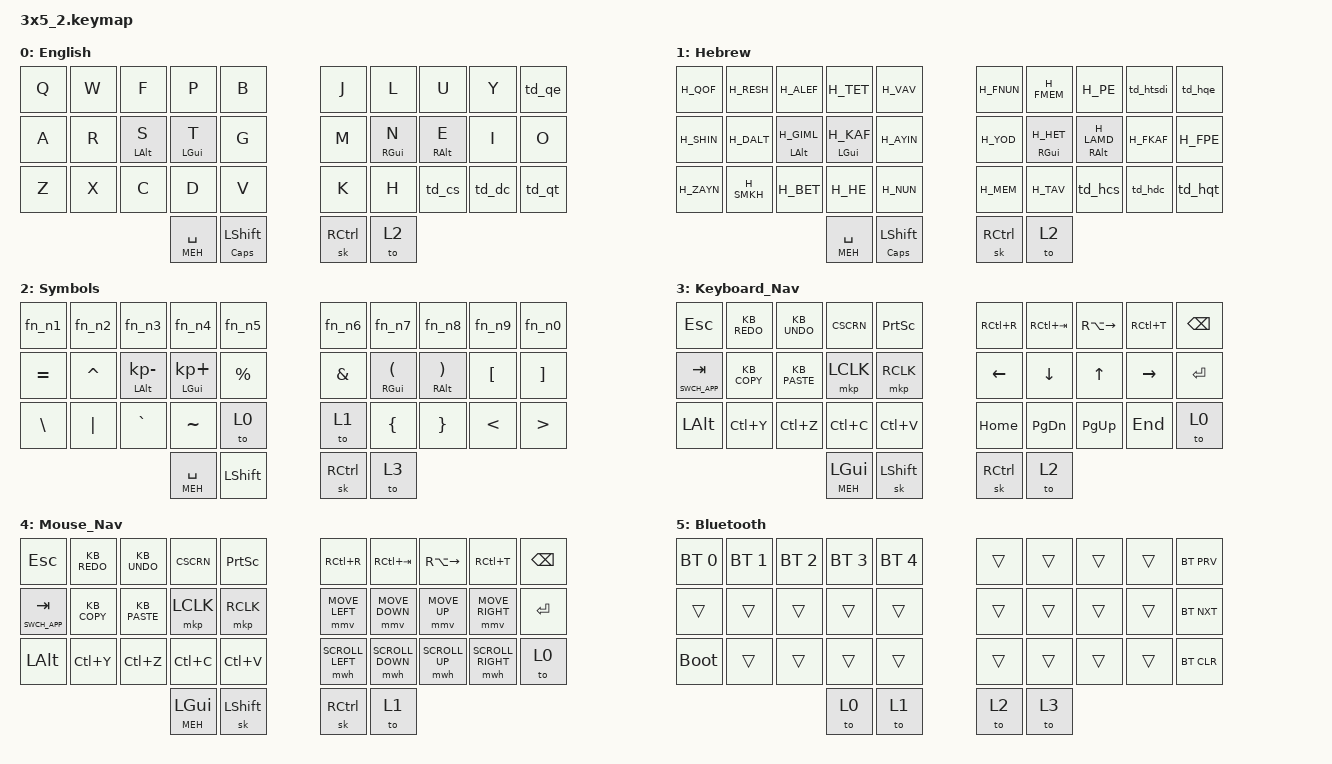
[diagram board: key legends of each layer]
/*
 * Copyright (c) 2020 The ZMK Contributors
 *
 * SPDX-License-Identifier: MIT
 */

#include <behaviors.dtsi>
#include <dt-bindings/zmk/keys.h>
#include <dt-bindings/zmk/bt.h>
#include <dt-bindings/zmk/mouse.h>

// Keymaps
#include "../keys/hebrew.h"
#include "../keys/shortcut.h"
#include "../keys/mod.h"

&mt {
    tapping_term_ms = <200>;
    flavor = "tap-preferred";
};
&sk {
    release-after-ms = <2000>;
    quick-release;
};

// Behaviors Constants
#define long_tap 200
#define short_tap 150

// Combos Constants
#define default_timeout 50

// Layers
#define ENG    0
#define HEB    1
#define SYM    2
#define KBNV   3
#define MSNV   4	
#define BLTH   5

/ {
    combos {
        compatible = "zmk,combos";

/* 34 Key Matrix
* ╭──────────────╮ ╭──────────────╮
* │ 0  1  2  3  4│ │ 5  6  7  8  9│
* │10 11 12 13 14│ │15 16 17 18 19│
* │20 21 22 23 24│ │25 26 27 28 29│
* ╰────────╮30 31│ │32 33╭────────╯
*          ╰─────╯ ╰─────╯         
*/

// General combos
        combo_to_base {
            timeout-ms = <default_timeout>;
            key-positions = <30 33>;
            bindings = <&to ENG>;
        };
        combo_to_bt {
            timeout-ms = <default_timeout>;
            key-positions = <0 9>;
            bindings = <&to BLTH>;
            layers = <ENG HEB SYM KBNV MSNV>;
        };

// Alphanumeric-Layer combos
        combo_caps_word {
            timeout-ms = <default_timeout>;
            key-positions = <24 25>;
            bindings = <&caps_word>;
            layers = <ENG HEB SYM>;
        };

// Top Row (left to right)
        combo_escape {
            timeout-ms = <default_timeout>;
            key-positions = <0 1>;
            bindings = <&kp ESCAPE>;
            layers = <ENG HEB SYM>;
        };

        combo_dollar {
            timeout-ms = <default_timeout>;
            key-positions = <2 3>; 
            bindings = <&kp DOLLAR>;
            layers = <ENG SYM>;
        };
        combo_shekel {
            timeout-ms = <default_timeout>;
            key-positions = <2 3>;
            bindings = <&kp H_SHKL>;
            layers = <HEB>;
        };

        combo_underscore {
            timeout-ms = <default_timeout>;
            key-positions = <6 7>;
            bindings = <&kp UNDERSCORE>;
            layers = <ENG HEB SYM>;
        };

        combo_backspace {
            timeout-ms = <default_timeout>;
            key-positions = <8 9>;
            bindings = <&kp BACKSPACE>;
            layers = <ENG HEB SYM>;
        };

// Middle row
        combo_tab {
            timeout-ms = <default_timeout>;
            key-positions = <10 11>;
            bindings = <&kp TAB>;
            layers = <ENG HEB SYM>;
        };

        combo_return {
            timeout-ms = <default_timeout>;
            key-positions = <18 19>;
            bindings = <&kp RETURN>;
            layers = <ENG HEB SYM>;
        };

// Bottom row
        combo_slash {
            timeout-ms = <default_timeout>;
            key-positions = <20 21>;
            bindings = <&kp FSLH>;
            layers = <ENG HEB SYM>;
        };

        combo_asterisk {
            timeout-ms = <default_timeout>;
            key-positions = <22 23>;
            bindings = <&kp ASTERISK>;
            layers = <ENG HEB SYM>;
        };

        combo_hash {
            timeout-ms = <default_timeout>;
            key-positions = <26 27>;
            bindings = <&kp HASH>;
            layers = <ENG HEB SYM>;
        };

        combo_at_sign {
            timeout-ms = <default_timeout>;
            key-positions = <28 29>;
            bindings = <&kp AT_SIGN>;
            layers = <ENG HEB SYM>;
        };
    };

    behaviors {
        hm: homerow_mods {
            compatible = "zmk,behavior-hold-tap";
            #binding-cells = <2>;
            tapping-term-ms = <long_tap>;
            quick_tap_ms = <0>;
            flavor = "tap-preferred";
            bindings = 
                <&kp>, 
                <&kp>;
        };
        smt: sticky_mod_tap {
            compatible = "zmk,behavior-hold-tap";
            #binding-cells = <2>;
            tapping-term-ms = <long_tap>;
            quick_tap_ms = <0>;
            flavor = "tap-preferred";
            bindings = 
                <&sk>, 
                <&kp>;
        };
        ht: hold_tap {
            compatible = "zmk,behavior-hold-tap";
            #binding-cells = <2>;
            tapping-term-ms = <short_tap>;
            quick_tap_ms = <0>;
            flavor = "tap-preferred";
            bindings = 
                <&kp>, 
                <&kp>;
        };
        // 1: Period "."; 2: Colon ":"; 3: Ellipsis "..."
        td_dc: tap_dot_colon {
            compatible = "zmk,behavior-tap-dance";
            #binding-cells = <0>;
            tapping-term-ms = <short_tap>;
            bindings = 
                <&kp DOT>, 
                <&kp COLON>, 
                <&kp DOT &kp DOT &kp DOT>;
        };
        // 1: Comma ","; 2: Semicolon ";"
        td_cs: tap_comma_semicolon {
            compatible = "zmk,behavior-tap-dance";
            #binding-cells = <0>;
            tapping-term-ms = <short_tap>;
            bindings = 
                <&kp COMMA>, 
                <&kp SEMICOLON>;
        };
        // 1: Single quote "'"; 2: Double quote """; 3: Triple-double quote """""
        td_qt: tap_quote {
            compatible = "zmk,behavior-tap-dance";
            #binding-cells = <0>;
            tapping-term-ms = <short_tap>;
            bindings = 
                <&kp SINGLE_QUOTE>, 
                <&kp DOUBLE_QUOTES>, 
                <&kp DOUBLE_QUOTES &kp DOUBLE_QUOTES &kp DOUBLE_QUOTES>;
        };
        // 1: Question mark "?"; 2: Exclamation mark "!"
        td_qe: tap_ques_excl {
            compatible = "zmk,behavior-tap-dance";
            #binding-cells = <0>;
            tapping-term-ms = <short_tap>;
            bindings = 
                <&kp QUESTION>, 
                <&kp EXCLAMATION>,
                <&kp QUESTION &kp QUESTION &kp QUESTION>;
        };
        // 1: Period "."; 2: Colon ":"; 3: Ellipsis "..."
        td_hdc: tap_heb_dot_colon {
            compatible = "zmk,behavior-tap-dance";
            #binding-cells = <0>;
            tapping-term-ms = <short_tap>;
            bindings = 
                <&kp H_DOT>, 
                <&kp H_COLON>, 
                <&kp H_DOT &kp H_DOT &kp H_DOT>;
        };
        // 1: Comma ","; 2: Semicolon ";"
        td_hcs: tap_heb_comma_semicolon {
            compatible = "zmk,behavior-tap-dance";
            #binding-cells = <0>;
            tapping-term-ms = <short_tap>;
            bindings = 
                <&kp H_COMMA>, 
                <&kp H_SEMI>;
        };
        // 1: Single quote "'"; 2: Double quote """; 3: Triple-double quote """""
        td_hqt: tap_heb_quote {
            compatible = "zmk,behavior-tap-dance";
            #binding-cells = <0>;
            tapping-term-ms = <short_tap>;
            bindings = 
                <&kp H_SQT>, 
                <&kp H_DQT>, 
                <&kp H_DQT &kp H_DQT &kp H_DQT>;
        };
        // 1: Question mark "?"; 2: Exclamation mark "!"
        td_hqe: tap_heb_ques_excl {
            compatible = "zmk,behavior-tap-dance";
            #binding-cells = <0>;
            tapping-term-ms = <short_tap>;
            bindings = 
                <&kp H_QMARK>, 
                <&kp H_EXCL>;
        };
        // 1: Question mark "?"; 2: Exclamation mark "!"
        td_htsdi: tap_heb_tsadi {
            compatible = "zmk,behavior-tap-dance";
            #binding-cells = <0>;
            tapping-term-ms = <short_tap>;
            bindings = 
                <&kp H_TSDI>, 
                <&kp H_FTSDI>;
        };
        // Number-Function Mod-Morph
        fn_n1: number_function_1 {
            compatible = "zmk,behavior-mod-morph";
            #binding-cells = <0>;
            bindings = 
                <&kp KP_N1>, 
                <&kp F1>;
            mods = <(MOD_LSFT|MOD_RSFT)>;
        };
        fn_n2: number_function_2 {
            compatible = "zmk,behavior-mod-morph";
            #binding-cells = <0>;
            bindings = 
                <&kp KP_N2>, 
                <&kp F2>;
            mods = <(MOD_LSFT|MOD_RSFT)>;
        };
        fn_n3: number_function_3 {
            compatible = "zmk,behavior-mod-morph";
            #binding-cells = <0>;
            bindings = 
                <&kp KP_N3>, 
                <&kp F3>;
            mods = <(MOD_LSFT|MOD_RSFT)>;
        };
        fn_n4: number_function_4 {
            compatible = "zmk,behavior-mod-morph";
            #binding-cells = <0>;
            bindings = 
                <&kp KP_N4>, 
                <&kp F4>;
            mods = <(MOD_LSFT|MOD_RSFT)>;
        };
        fn_n5: number_function_5 {
            compatible = "zmk,behavior-mod-morph";
            #binding-cells = <0>;
            bindings = 
                <&kp KP_N5>, 
                <&kp F5>;
            mods = <(MOD_LSFT|MOD_RSFT)>;
        };
        fn_n6: number_function_6 {
            compatible = "zmk,behavior-mod-morph";
            #binding-cells = <0>;
            bindings = 
                <&kp KP_N6>,
                <&kp F6>;
            mods = <(MOD_LSFT|MOD_RSFT)>;
        };
        fn_n7: number_function_7 {
            compatible = "zmk,behavior-mod-morph";
            #binding-cells = <0>;
            bindings = 
                <&kp KP_N7>,
                <&kp F7>;
            mods = <(MOD_LSFT|MOD_RSFT)>;
        };
        fn_n8: number_function_8 {
            compatible = "zmk,behavior-mod-morph";
            #binding-cells = <0>;
            bindings = 
                <&kp KP_N8>,
                <&kp F8>;
            mods = <(MOD_LSFT|MOD_RSFT)>;
        };
        fn_n9: number_function_9 {
            compatible = "zmk,behavior-mod-morph";
            #binding-cells = <0>;
            bindings = 
                <&kp KP_N9>, 
                <&kp F9>;
            mods = <(MOD_LSFT|MOD_RSFT)>;
        };
        fn_n0: number_function_10 {
            compatible = "zmk,behavior-mod-morph";
            #binding-cells = <0>;
            bindings = 
                <&kp KP_N0>,
                <&kp F10>;
            mods = <(MOD_LSFT|MOD_RSFT)>;
        };
    };


    keymap {
        compatible = "zmk,keymap";

        ENG {
            display-name = "English";
            bindings = <
    &kp Q           &kp W           &kp F           &kp P           &kp B              &kp J           &kp L           &kp U           &kp Y           &td_qe
    &kp A           &kp R           &hm LALT S      &hm LGUI T      &kp G              &kp M           &hm RGUI N      &hm RALT E      &kp I           &kp O
    &kp Z           &kp X           &kp C           &kp D           &kp V              &kp K           &kp H           &td_cs          &td_dc          &td_qt
                                    &smt MEH SPACE          &mt CAPS LSHIFT            &sk RCTRL               &to 2
            >;
        };
        HEB {
            display-name = "Hebrew";
            bindings = <
    &kp H_QOF       &kp H_RESH      &kp H_ALEF      &kp H_TET       &kp H_VAV          &kp H_FNUN      &kp H_FMEM      &kp H_PE        &td_htsdi       &td_hqe
    &kp H_SHIN      &kp H_DALT      &hm LALT H_GIML &hm LGUI H_KAF  &kp H_AYIN         &kp H_YOD       &hm RGUI H_HET  &hm RALT H_LAMD &kp H_FKAF      &kp H_FPE
    &kp H_ZAYN      &kp H_SMKH      &kp H_BET       &kp H_HE        &kp H_NUN          &kp H_MEM       &kp H_TAV       &td_hcs         &td_hdc         &td_hqt
                                    &smt MEH SPACE          &mt CAPS LSHIFT            &sk RCTRL               &to 2
            >;
        };
        SYM {
            display-name = "Symbols";
            bindings = <
    &fn_n1          &fn_n2          &fn_n3            &fn_n4            &fn_n5        &fn_n6          &fn_n7        &fn_n8          &fn_n9      &fn_n0
    &kp EQUAL       &kp CARET       &hm LALT KP_MINUS &hm LGUI KP_PLUS  &kp PRCNT     &kp AMPERSAND   &hm RGUI LPAR &hm RALT RPAR   &kp LBKT    &kp RBKT
    &kp BACKSLASH   &kp PIPE        &kp GRAVE         &kp TILDE         &to 0         &to 1           &kp LBRC      &kp RBRC        &kp LT      &kp GT
                                    &smt MEH SPACE          &kp LSHIFT                &sk RCTRL               &to 3
            >;
        };
        KBNV {
            display-name = "Keyboard_Nav";
            bindings = <
    &kp ESC           &kp KB_REDO &kp KB_UNDO   &kp CSCRN &kp PSCRN       &kp RC(R) &kp RC(TAB) &kp RA(RIGHT) &kp RC(T) &kp BSPC
    &mt SWCH_APP TAB  &kp KB_COPY &kp KB_PASTE  &mkp LCLK &mkp RCLK       &kp LEFT  &kp DOWN    &kp UP        &kp RIGHT &kp RET
    &kp LALT          &kp LC(Y)   &kp LC(Z)     &kp LC(C) &kp LC(V)       &kp HOME  &kp PG_DN   &kp PG_UP     &kp END   &to 0
                                  &smt MEH LGUI           &sk LSHIFT      &sk RCTRL             &to 2
            >;
        };
        MSNV {
            display-name = "Mouse_Nav";
            bindings = <
    &kp ESC           &kp KB_REDO &kp KB_UNDO   &kp CSCRN &kp PSCRN       &kp RC(R)         &kp RC(TAB)       &kp RA(RIGHT)   &kp RC(T)         &kp BSPC
    &mt SWCH_APP TAB  &kp KB_COPY &kp KB_PASTE  &mkp LCLK &mkp RCLK       &mmv MOVE_LEFT    &mmv MOVE_DOWN    &mmv MOVE_UP    &mmv MOVE_RIGHT   &kp RET
    &kp LALT          &kp LC(Y)   &kp LC(Z)     &kp LC(C) &kp LC(V)       &mwh SCROLL_LEFT  &mwh SCROLL_DOWN  &mwh SCROLL_UP  &mwh SCROLL_RIGHT &to 0
                                  &smt MEH LGUI           &sk LSHIFT      &sk RCTRL               &to 1
            >;
        };
        BLTH {
            display-name = "Bluetooth";
            bindings = <
    &bt BT_SEL 0    &bt BT_SEL 1    &bt BT_SEL 2    &bt BT_SEL 3    &bt BT_SEL 4       &trans          &trans          &trans          &trans          &bt BT_PRV
    &trans          &trans          &trans          &trans          &trans             &trans          &trans          &trans          &trans          &bt BT_NXT
    &bootloader     &trans          &trans          &trans          &trans             &trans          &trans          &trans          &trans          &bt BT_CLR
                                    &to 0                   &to 1                      &to 2                   &to 3
        >;
        };
    };
};
